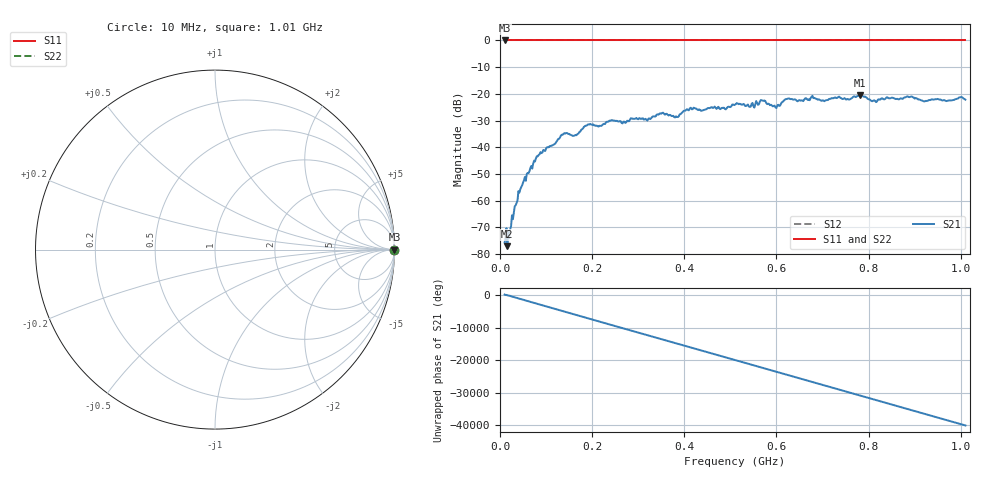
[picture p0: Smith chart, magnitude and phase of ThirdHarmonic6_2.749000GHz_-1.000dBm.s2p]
! 8/17/2025 6:52:10 AM
! C:\ANRITSUVNA\TEMP\TEMP.S2P
! CHANNEL.1
! TR.MEASUREMENT
! RAW.DATA
! RF.CORRECTION.OFF
! AVERAGING.OFF
! IF.BANDWIDTH: 5KHZ
! SWEEPTYPE:  FREQ.SWEEP(Linear)
! Reference Plane Port Info
! PORT:  PORT1  PORT2
! DISTANCE:  0  m  0  m
! TIME:  0  s  0  s
! PHASE.OFFSET:  0  deg.  0  deg.
! LOSS:  0  dB  0  dB
! REF.LOSS:  0  dB  0  dB
! REF.FREQ:  0  Hz  0  Hz
! Power Info
! POWER:  -20  dBm  -20  dBm
! EFF.POWER:  -20  dBm  -20  dBm
! SOURCE.ATTEN:  0  dB  0  dB
! TEST.ATTEN:  0  dB  0  dB
# GHZ S RI R 50.0
! FREQ.GHZ  S11RE  S11IM  S21RE  S21IM  S12RE  S12IM  S22RE  S22IM
!; PortSelection: Port_12
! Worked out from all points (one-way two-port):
!   501 points, 10 MHz to 1.01 GHz, reference 50 ohm
!   highest |S21| = -20.48 dB at 782 MHz (marker M1); lowest = -77.1 dB at 16 MHz (marker M2)
!   lowest |S11| = 0.0 dB at 10 MHz (marker M3)
!   |S11| at or under -10 dB: nowhere
!   |S22| runs from 0.0 to 0.0 dB; largest |S21 - S12| = 1.1
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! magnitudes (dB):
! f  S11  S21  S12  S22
! 10 MHz  0.0  -75.7  0.0  0.0
! 16 MHz  0.0  -77.1  0.0  0.0
! 20 MHz  0.0  -74.1  0.0  0.0
! 30 MHz  0.0  -64.6  0.0  0.0
! 44 MHz  0.0  -55.8  0.0  0.0
! 78 MHz  0.0  -44.1  0.0  0.0
! 136 MHz  0.0  -35.3  0.0  0.0
! 162 MHz  0.0  -35.6  0.0  0.0
! 178 MHz  0.0  -33.2  0.0  0.0
! 344 MHz  0.0  -27.8  0.0  0.0
! 382 MHz  0.0  -28.4  0.0  0.0
! 416 MHz  0.0  -25.8  0.0  0.0
! 510 MHz  0.0  -24.1  0.0  0.0
! 570 MHz  0.0  -22.6  0.0  0.0
! 596 MHz  0.0  -24.4  0.0  0.0
! 624 MHz  0.0  -21.8  0.0  0.0
! 678 MHz  0.0  -20.7  0.0  0.0
! 702 MHz  0.0  -22.5  0.0  0.0
! 782 MHz  0.0  -20.5  0.0  0.0
! 812 MHz  0.0  -22.4  0.0  0.0
! 844 MHz  0.0  -21.7  0.0  0.0
! 1.01 GHz  0.0  -22.2  0.0  0.0
